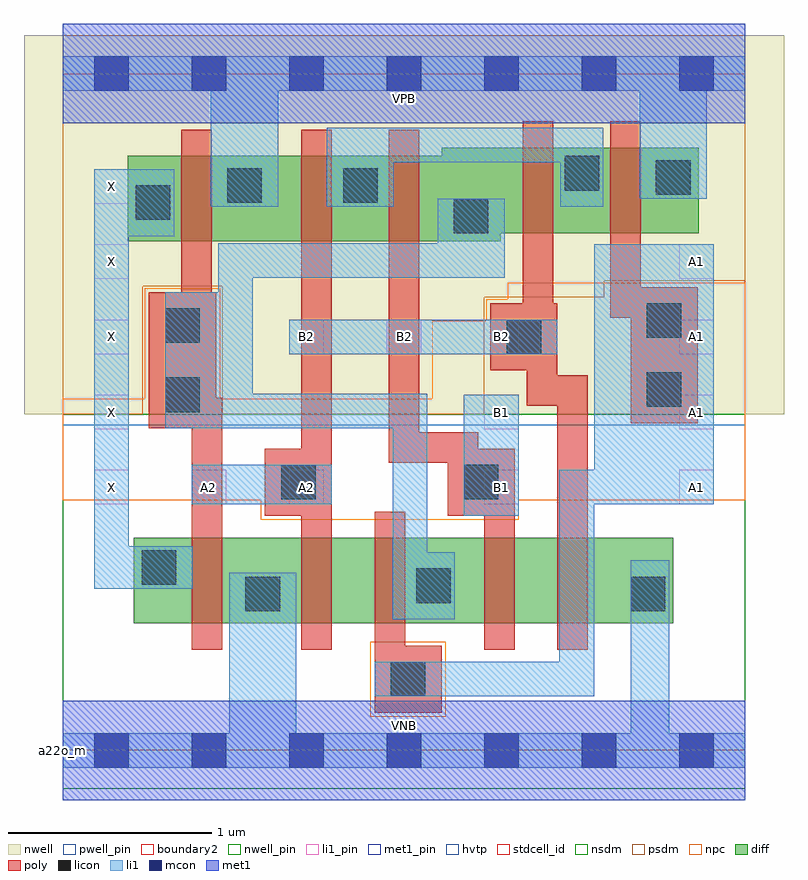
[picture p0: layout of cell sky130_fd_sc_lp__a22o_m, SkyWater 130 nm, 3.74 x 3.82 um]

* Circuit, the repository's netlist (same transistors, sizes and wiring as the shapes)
* Copyright 2020 The SkyWater PDK Authors
*
* Licensed under the Apache License, Version 2.0 (the "License");
* you may not use this file except in compliance with the License.
* You may obtain a copy of the License at
*
*     https://www.apache.org/licenses/LICENSE-2.0
*
* Unless required by applicable law or agreed to in writing, software
* distributed under the License is distributed on an "AS IS" BASIS,
* WITHOUT WARRANTIES OR CONDITIONS OF ANY KIND, either express or implied.
* See the License for the specific language governing permissions and
* limitations under the License.
*
* SPDX-License-Identifier: Apache-2.0

.SUBCKT sky130_fd_sc_lp__a22o_m A1 A2 B1 B2 VGND VNB VPB VPWR X
*.PININFO A1:I A2:I B1:I B2:I VGND:I VNB:I VPB:I VPWR:I X:O
MMPA0 pndA A1 VPWR VPB sky130_fd_pr__pfet_01v8_hvt m=1 w=0.42U l=0.15U mult=1 sa=0.265
+ sb=0.265 sd=0.28 area=0.063 perim=1.14
MMPA1 pndA A2 VPWR VPB sky130_fd_pr__pfet_01v8_hvt m=1 w=0.42U l=0.15U mult=1 sa=0.265
+ sb=0.265 sd=0.28 area=0.063 perim=1.14
MMPB0 y B1 pndA VPB sky130_fd_pr__pfet_01v8_hvt m=1 w=0.42U l=0.15U mult=1 sa=0.265
+ sb=0.265 sd=0.28 area=0.063 perim=1.14
MMPB1 y B2 pndA VPB sky130_fd_pr__pfet_01v8_hvt m=1 w=0.42U l=0.15U mult=1 sa=0.265
+ sb=0.265 sd=0.28 area=0.063 perim=1.14
MMIPX X y VPWR VPB sky130_fd_pr__pfet_01v8_hvt m=1 w=0.42U l=0.15U mult=1 sa=0.265
+ sb=0.265 sd=0.28 area=0.063 perim=1.14
MMNA0 y A1 sndA1 VNB sky130_fd_pr__nfet_01v8 m=1 w=0.42U l=0.15U mult=1 sa=0.265
+ sb=0.265 sd=0.28 area=0.063 perim=1.14
MMNA1 sndA1 A2 VGND VNB sky130_fd_pr__nfet_01v8 m=1 w=0.42U l=0.15U mult=1 sa=0.265
+ sb=0.265 sd=0.28 area=0.063 perim=1.14
MMNB0 y B1 sndB1 VNB sky130_fd_pr__nfet_01v8 m=1 w=0.42U l=0.15U mult=1 sa=0.265
+ sb=0.265 sd=0.28 area=0.063 perim=1.14
MMNB1 sndB1 B2 VGND VNB sky130_fd_pr__nfet_01v8 m=1 w=0.42U l=0.15U mult=1 sa=0.265
+ sb=0.265 sd=0.28 area=0.063 perim=1.14
MMINX X y VGND VNB sky130_fd_pr__nfet_01v8 m=1 w=0.42U l=0.15U mult=1 sa=0.265
+ sb=0.265 sd=0.28 area=0.063 perim=1.14
.ENDS sky130_fd_sc_lp__a22o_m

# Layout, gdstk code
import gdstk
lib = gdstk.Library(unit=1e-6, precision=1e-09)
def R(c, l, rs):  # rectangles x0, y0, x1, y1
    for r in rs: c.add(gdstk.rectangle(r[:2], r[2:], *l))
def A(c, l, x, y, w, h, nx, ny, dx, dy):  # array of equal rectangles
    R(c, l, [(x+i*dx, y+j*dy, x+i*dx+w, y+j*dy+h) for i in range(nx) for j in range(ny)])
def P(c, l, *ps):  # polygons
    for p in ps: c.add(gdstk.Polygon(p, *l))
nwell_pin = (64, 16)
nwell = (64, 20)
diff = (65, 20)
poly = (66, 20)
licon = (66, 44)
li1_pin = (67, 16)
li1 = (67, 20)
mcon = (67, 44)
met1_pin = (68, 16)
met1 = (68, 20)
hvtp = (78, 44)
stdcell_id = (81, 4)
nsdm = (93, 44)
psdm = (94, 20)
npc = (95, 20)
pwell_pin = (122, 16)
boundary2 = (236, 0)

sky130_fd_sc_lp__a22o_m = lib.new_cell('sky130_fd_sc_lp__a22o_m')
R(sky130_fd_sc_lp__a22o_m, nwell_pin, [(0,3.085,3.36,3.33)])
R(sky130_fd_sc_lp__a22o_m, nwell, [(-0.19,1.655,3.55,3.52)])
R(sky130_fd_sc_lp__a22o_m, diff, [(0.35,0.625,3.005,1.045)])
P(sky130_fd_sc_lp__a22o_m, diff, [(3.13,2.965),(1.865,2.965),(1.865,2.925),(0.32,2.925),(0.32,2.505),(2.155,2.505),(2.155,2.545),(3.13,2.545)])
P(sky130_fd_sc_lp__a22o_m, poly, [(0.785,1.735),(0.755,1.735),(0.755,2.255),(0.735,2.255),(0.735,3.055),(0.585,3.055),(0.585,2.255),(0.425,2.255),(0.425,1.585),(0.635,1.585),(0.635,0.495),(0.785,0.495)],
  [(1.325,3.055),(1.175,3.055),(1.175,1.485),(0.995,1.485),(0.995,1.155),(1.175,1.155),(1.175,0.495),(1.325,0.495)],
  [(1.865,0.515),(1.685,0.515),(1.685,1.175),(1.535,1.175),(1.535,0.185),(1.865,0.185)],
  [(2.225,1.485),(2.045,1.485),(2.045,1.565),(1.755,1.565),(1.755,3.055),(1.605,3.055),(1.605,1.415),(1.895,1.415),(1.895,1.155),(2.075,1.155),(2.075,0.495),(2.225,0.495)],
  [(2.585,1.845),(2.435,1.845),(2.435,2.2),(2.415,2.2),(2.415,3.095),(2.265,3.095),(2.265,2.2),(2.105,2.2),(2.105,1.87),(2.285,1.87),(2.285,1.695),(2.435,1.695),(2.435,0.495),(2.585,0.495)],
  [(3.125,2.28),(2.845,2.28),(2.845,3.095),(2.695,3.095),(2.695,2.13),(2.795,2.13),(2.795,1.61),(3.125,1.61)])
R(sky130_fd_sc_lp__a22o_m, licon, [(1.615,0.265,1.785,0.435), (0.9,0.685,1.07,0.855), (2.795,0.685,2.965,0.855), (1.74,0.725,1.91,0.895), (0.39,0.815,0.56,0.985), (1.075,1.235,1.245,1.405), (1.975,1.235,2.145,1.405), (0.505,1.665,0.675,1.835), (2.875,1.69,3.045,1.86), (2.185,1.95,2.355,2.12), (0.505,2.005,0.675,2.175), (2.875,2.03,3.045,2.2), (1.925,2.545,2.095,2.715), (0.36,2.61,0.53,2.78), (0.81,2.695,0.98,2.865), (1.38,2.695,1.55,2.865), (2.92,2.735,3.09,2.905), (2.47,2.755,2.64,2.925)])
A(sky130_fd_sc_lp__a22o_m, li1_pin, 0.155, 1.21, 0.17, 0.17, 3, 1, 0.48, 0)
A(sky130_fd_sc_lp__a22o_m, li1_pin, 3.035, 1.21, 0.17, 0.17, 1, 4, 0, 0.37)
A(sky130_fd_sc_lp__a22o_m, li1_pin, 0.155, 1.58, 0.17, 0.17, 1, 4, 0, 0.37)
A(sky130_fd_sc_lp__a22o_m, li1_pin, 1.115, 1.95, 0.17, 0.17, 3, 1, 0.48, 0)
R(sky130_fd_sc_lp__a22o_m, li1_pin, [(2.075,1.21,2.245,1.38), (2.075,1.58,2.245,1.75)])
R(sky130_fd_sc_lp__a22o_m, li1, [(1.975,1.155,2.245,1.75), (0.635,1.21,1.325,1.405), (1.115,1.95,2.435,2.12)])
P(sky130_fd_sc_lp__a22o_m, li1, [(2.84,2.715),(2.84,3.245),(1.06,3.245),(1.06,2.675),(0.73,2.675),(0.73,3.245),(0,3.245),(0,3.415),(3.36,3.415),(3.36,3.245),(3.17,3.245),(3.17,2.715)],
  [(2.795,0.085),(2.795,0.935),(2.985,0.935),(2.985,0.085),(3.36,0.085),(3.36,-0.085),(0,-0.085),(0,0.085),(0.82,0.085),(0.82,0.875),(1.15,0.875),(1.15,0.085)],
  [(2.615,1.38),(2.615,2.49),(3.205,2.49),(3.205,1.21),(2.615,1.21),(2.615,0.265),(1.535,0.265),(1.535,0.435),(2.445,0.435),(2.445,1.38)],
  [(0.155,2.86),(0.55,2.86),(0.55,2.53),(0.325,2.53),(0.325,1.005),(0.64,1.005),(0.64,0.795),(0.155,0.795)],
  [(1.625,1.585),(0.505,1.585),(0.505,2.255),(0.765,2.255),(0.765,2.495),(1.845,2.495),(1.845,2.715),(2.175,2.715),(2.175,2.325),(0.935,2.325),(0.935,1.755),(1.795,1.755),(1.795,0.975),(1.93,0.975),(1.93,0.645),(1.625,0.645)],
  [(2.45,2.675),(2.45,2.895),(1.63,2.895),(1.63,2.675),(1.3,2.675),(1.3,3.065),(2.66,3.065),(2.66,2.675)])
A(sky130_fd_sc_lp__a22o_m, mcon, 0.155, -0.085, 0.17, 0.17, 7, 2, 0.48, 3.33)
R(sky130_fd_sc_lp__a22o_m, met1_pin, [(0,0,3.36,0.245), (0,3.085,3.36,3.33)])
R(sky130_fd_sc_lp__a22o_m, met1, [(0,-0.245,3.36,0.245), (0,3.085,3.36,3.575)])
R(sky130_fd_sc_lp__a22o_m, hvtp, [(0,1.6,3.36,3.33)])
R(sky130_fd_sc_lp__a22o_m, stdcell_id, [(0,0,3.36,3.33)])
R(sky130_fd_sc_lp__a22o_m, nsdm, [(0,-0.19,3.36,1.655)])
P(sky130_fd_sc_lp__a22o_m, psdm, [(3.36,3.52),(0,3.52),(0,1.655),(0.395,1.655),(0.395,2.285),(0.785,2.285),(0.785,1.655),(2.075,1.655),(2.075,2.23),(2.665,2.23),(2.665,2.31),(3.36,2.31)])
R(sky130_fd_sc_lp__a22o_m, npc, [(1.515,0.165,1.885,0.535)])
P(sky130_fd_sc_lp__a22o_m, npc, [(3.36,2.3),(2.19,2.3),(2.19,2.22),(2.085,2.22),(2.085,2.115),(1.82,2.115),(1.82,1.73),(0.775,1.73),(0.775,2.275),(0.405,2.275),(0.405,1.73),(0,1.73),(0,1.23),(0.975,1.23),(0.975,1.135),(2.245,1.135),(2.245,1.23),(3.36,1.23)])
R(sky130_fd_sc_lp__a22o_m, pwell_pin, [(0,0,3.36,0.245)])
R(sky130_fd_sc_lp__a22o_m, boundary2, [(0,0,3.36,3.33)])
sky130_fd_sc_lp__a22o_m.add(gdstk.Label('VNB', (1.68,0.123), layer=64, texttype=59))
sky130_fd_sc_lp__a22o_m.add(gdstk.Label('VPB', (1.68,3.208), layer=64, texttype=5))
sky130_fd_sc_lp__a22o_m.add(gdstk.Label('a22o_m', (0,0), layer=83, texttype=44))
sky130_fd_sc_lp__a22o_m.add(gdstk.Label('VPWR', (1.68,3.208), layer=68, texttype=5))
sky130_fd_sc_lp__a22o_m.add(gdstk.Label('VGND', (1.68,0.123), layer=68, texttype=5))
sky130_fd_sc_lp__a22o_m.add(gdstk.Label('A2', (0.72,1.295), layer=67, texttype=5))
sky130_fd_sc_lp__a22o_m.add(gdstk.Label('A2', (1.2,1.295), layer=67, texttype=5))
sky130_fd_sc_lp__a22o_m.add(gdstk.Label('B1', (2.16,1.295), layer=67, texttype=5))
sky130_fd_sc_lp__a22o_m.add(gdstk.Label('B1', (2.16,1.665), layer=67, texttype=5))
sky130_fd_sc_lp__a22o_m.add(gdstk.Label('B2', (1.2,2.035), layer=67, texttype=5))
sky130_fd_sc_lp__a22o_m.add(gdstk.Label('B2', (1.68,2.035), layer=67, texttype=5))
sky130_fd_sc_lp__a22o_m.add(gdstk.Label('B2', (2.16,2.035), layer=67, texttype=5))
sky130_fd_sc_lp__a22o_m.add(gdstk.Label('A1', (3.12,1.295), layer=67, texttype=5))
sky130_fd_sc_lp__a22o_m.add(gdstk.Label('A1', (3.12,1.665), layer=67, texttype=5))
sky130_fd_sc_lp__a22o_m.add(gdstk.Label('A1', (3.12,2.035), layer=67, texttype=5))
sky130_fd_sc_lp__a22o_m.add(gdstk.Label('A1', (3.12,2.405), layer=67, texttype=5))
sky130_fd_sc_lp__a22o_m.add(gdstk.Label('X', (0.24,1.295), layer=67, texttype=5))
sky130_fd_sc_lp__a22o_m.add(gdstk.Label('X', (0.24,1.665), layer=67, texttype=5))
sky130_fd_sc_lp__a22o_m.add(gdstk.Label('X', (0.24,2.035), layer=67, texttype=5))
sky130_fd_sc_lp__a22o_m.add(gdstk.Label('X', (0.24,2.405), layer=67, texttype=5))
sky130_fd_sc_lp__a22o_m.add(gdstk.Label('X', (0.24,2.775), layer=67, texttype=5))

lib.write_gds('sky130_fd_sc_lp__a22o_m.gds')
